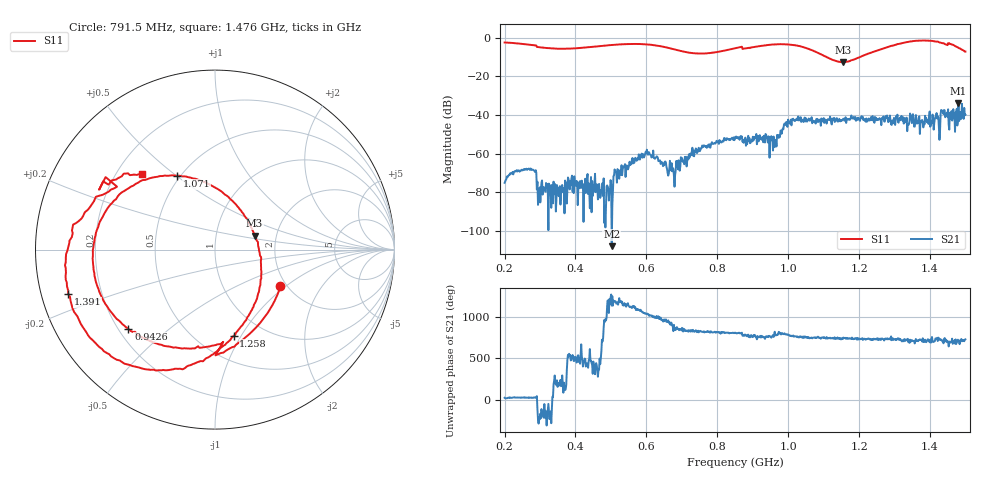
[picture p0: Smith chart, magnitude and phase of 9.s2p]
! NanoVNA-App
! Date: 2024-06-25 16:53:00
! Start: 200MHz Stop: 1.5GHz Points: 801
! S-Parameter data: F S11 S21 S12 S22
# Hz S RI R 50
!  Frequency  S11_Real  S11_Imag  S21_Real  S21_Imag  S12_Real  S12_Imag  S22_Real  S22_Imag
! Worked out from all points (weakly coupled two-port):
!   801 points, 200 MHz to 1.5 GHz, reference 50 ohm
!   highest |S21| = -33.92 dB at 1.48 GHz (marker M1); lowest = -108.0 dB at 502.2 MHz (marker M2)
!   lowest |S11| = -12.6 dB at 1.155 GHz (marker M3), VSWR 1.61, Z = 77 + j12.7 ohm
!   |S11| at or under -10 dB: 1.109 GHz to 1.201 GHz (92.56 MHz wide, 8.01 % of centre)
!   S12 and S22 are empty: the file has one direction only
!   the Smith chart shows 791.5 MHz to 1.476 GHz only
!   S11 on the Smith chart (normalised r, x): 791.5 MHz: 1.85, -0.92; 942.6 MHz: 0.24, -0.37; 1.071 GHz: 0.48, +0.50; 1.258 GHz: 0.73, -0.93; 1.391 GHz: 0.08, -0.15; 1.476 GHz: 0.31, +0.39
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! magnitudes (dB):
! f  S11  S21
! 200 MHz  -2.4  -75.2
! 268.2 MHz  -3.5  -67.7
! 297.5 MHz  -4.8  -79.6
! 417.8 MHz  -5.1  -74.0
! 502.2 MHz  -3.7  -108.0
! 513.6 MHz  -3.5  -69.2
! 585.1 MHz  -3.2  -61.2
! 633.9 MHz  -4.1  -63.9
! 676.1 MHz  -5.8  -68.0
! 791.5 MHz  -7.6  -54.8
! 850 MHz  -5.4  -51.6
! 942.6 MHz  -3.7  -54.2
! 1.017 GHz  -3.7  -42.7
! 1.068 GHz  -6.4  -44.2
! 1.071 GHz  -6.7  -42.9
! 1.155 GHz  -12.6  -41.9
! 1.258 GHz  -6.2  -41.6
! 1.284 GHz  -4.6  -41.7
! 1.391 GHz  -1.4  -43.7
! 1.476 GHz  -4.7  -36.8
! 1.48 GHz  -5.1  -33.9
! 1.5 GHz  -7.1  -39.8
